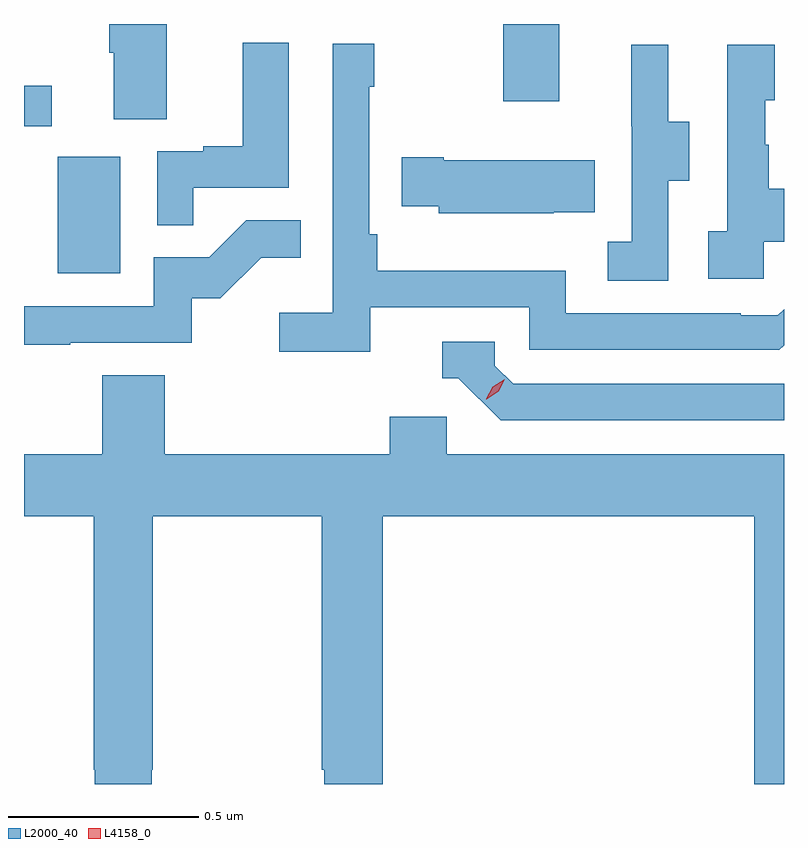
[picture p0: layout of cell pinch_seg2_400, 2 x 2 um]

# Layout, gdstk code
import gdstk
lib = gdstk.Library(unit=1e-6, precision=1e-09)
def R(c, l, rs):  # rectangles x0, y0, x1, y1
    for r in rs: c.add(gdstk.rectangle(r[:2], r[2:], *l))
def P(c, l, *ps):  # polygons
    for p in ps: c.add(gdstk.Polygon(p, *l))
L2000_40 = (2000, 40)
L4158_0 = (4158, 0)

pinch_seg2_400 = lib.new_cell('pinch_seg2_400')
R(pinch_seg2_400, L2000_40, [(998.264,624.3,998.428,624.607), (998.175,624.687,998.248,624.793), (999.436,624.753,999.583,624.956)])
P(pinch_seg2_400, L2000_40, [(998.551,624.956),(998.399,624.956),(998.399,624.88),(998.411,624.88),(998.411,624.706),(998.551,624.706)],
  [(998.621,624.525),(998.872,624.525),(998.872,624.907),(998.75,624.907),(998.75,624.634),(998.647,624.634),(998.647,624.621),(998.526,624.621),(998.526,624.427),(998.621,624.427)],
  [(999.086,624.21),(999.504,624.21),(999.504,624.099),(1000.163,624.099),(1000.175,624.111),(1000.175,624.206),(1000.158,624.189),(1000.061,624.189),(1000.061,624.195),(999.6,624.195),(999.6,624.307),(999.104,624.307),(999.104,624.403),(999.084,624.403),(999.084,624.791),(999.097,624.791),(999.097,624.904),(998.988,624.904),(998.988,624.196),(998.847,624.196),(998.847,624.094),(999.086,624.094)],
  [(1000.122,624.383),(1000.175,624.383),(1000.175,624.523),(1000.135,624.523),(1000.135,624.638),(1000.125,624.638),(1000.125,624.756),(1000.15,624.756),(1000.15,624.901),(1000.026,624.901),(1000.026,624.41),(999.975,624.41),(999.975,624.285),(1000.122,624.285)],
  [(999.87,624.544),(999.925,624.544),(999.925,624.699),(999.871,624.699),(999.871,624.901),(999.773,624.901),(999.773,624.687),(999.774,624.687),(999.774,624.383),(999.711,624.383),(999.711,624.28),(999.87,624.28)],
  [(999.569,624.461),(999.677,624.461),(999.677,624.598),(999.28,624.598),(999.28,624.606),(999.169,624.606),(999.169,624.476),(999.267,624.476),(999.267,624.458),(999.569,624.458)],
  [(998.297,624.117),(998.616,624.117),(998.616,624.234),(998.692,624.234),(998.799,624.341),(998.903,624.341),(998.903,624.44),(998.76,624.44),(998.662,624.342),(998.517,624.342),(998.517,624.213),(998.175,624.213),(998.175,624.112),(998.297,624.112)],
  [(1000.175,624.009),(999.462,624.009),(999.414,624.057),(999.414,624.12),(999.275,624.12),(999.275,624.024),(999.318,624.024),(999.429,623.913),(1000.175,623.913)],
  [(998.511,622.993),(998.514,622.993),(998.514,623.66),(998.959,623.66),(998.959,622.993),(998.965,622.993),(998.965,622.956),(999.119,622.956),(999.119,623.66),(1000.097,623.66),(1000.097,622.956),(1000.175,622.956),(1000.175,623.824),(999.288,623.824),(999.288,623.922),(999.137,623.922),(999.137,623.824),(998.546,623.824),(998.546,624.032),(998.381,624.032),(998.381,623.824),(998.175,623.824),(998.175,623.66),(998.359,623.66),(998.359,622.993),(998.361,622.993),(998.361,622.956),(998.511,622.956)])
P(pinch_seg2_400, L4158_0, [(999.392,623.969),(999.392,623.97),(999.409,624.002),(999.44,624.021),(999.44,624.021),(999.44,624.021),(999.424,623.989),(999.393,623.969)])

lib.write_gds('pinch_seg2_400.gds')
